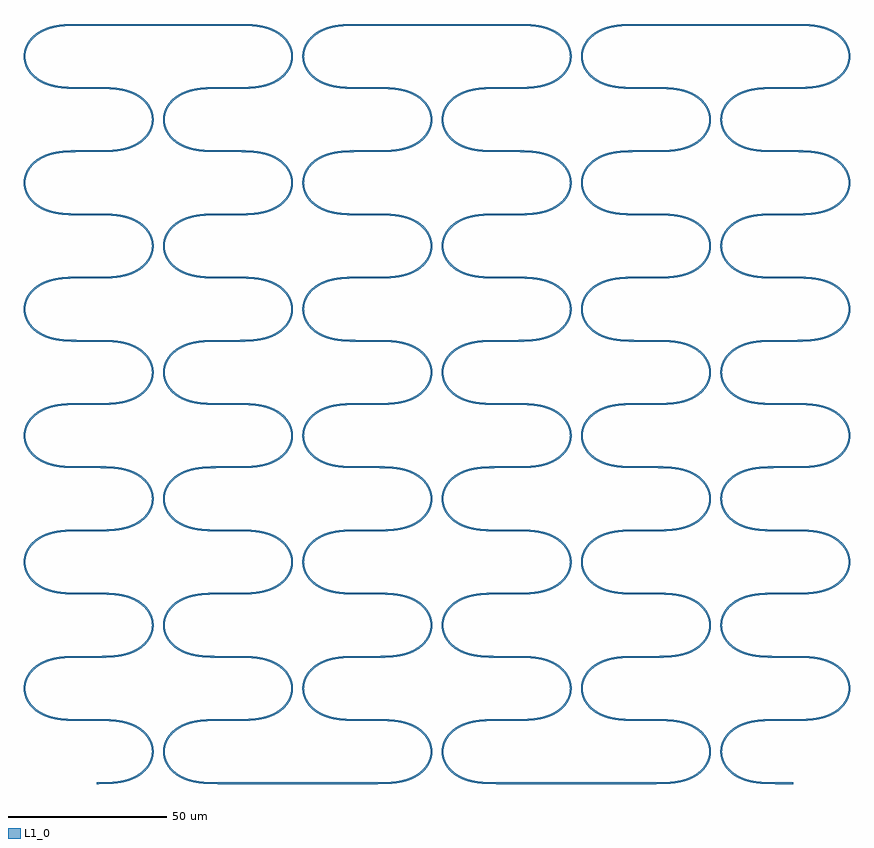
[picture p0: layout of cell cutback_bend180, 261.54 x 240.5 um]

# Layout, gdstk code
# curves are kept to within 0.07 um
from math import pi, radians
import gdstk
lib = gdstk.Library(unit=1e-6, precision=1e-09)
def R(c, l, rs):  # rectangles x0, y0, x1, y1
    for r in rs: c.add(gdstk.rectangle(r[:2], r[2:], *l))
def P(c, l, *ps):  # polygons
    for p in ps: c.add(gdstk.Polygon(p, *l))
L1_0 = (1, 0)

bend_euler180 = lib.new_cell('bend_euler180')
P(bend_euler180, L1_0, [(0,-0.25),(3.121,-0.22),(5.42,-0.091),(7.711,0.21),(9.53,0.626),(11.36,1.258),(12.927,2.029),(14.379,3.008),(15.71,4.249),(16.767,5.655),(17.564,7.3),(17.964,8.887),(18.027,10.525),(17.726,12.201),(17.06,13.835),(16.09,15.304),(14.829,16.618),(13.589,17.562),(12.184,18.367),(10.576,19.043),(8.969,19.522),(7.204,19.875),(5.293,20.102),(3.121,20.22),(0,20.25),(0,19.75),(4.748,19.642),(6.628,19.454),(8.299,19.164),(10.703,18.464),(12.732,17.506),(13.772,16.825),(14.684,16.076),(15.502,15.23),(16.209,14.291),(16.785,13.27),(17.211,12.18),(17.46,11.101),(17.545,10.061),(17.478,9.02),(17.229,7.879),(16.837,6.842),(16.309,5.865),(15.661,4.961),(14.82,4.051),(13.872,3.249),(12.785,2.525),(10.703,1.536),(8.299,0.836),(6.628,0.546),(4.748,0.358),(0,0.25)])

straight_length5_width50 = lib.new_cell('straight_length5_width500n')
R(straight_length5_width50, L1_0, [(0,-0.25,5,0.25)])

straight_length44p091_wi = lib.new_cell('straight_length44p091_width500n')
R(straight_length44p091_wi, L1_0, [(0,-0.25,44.091,0.25)])

cutback_bend180 = lib.new_cell('cutback_bend180')
cutback_bend180.add(gdstk.Reference(bend_euler180, (0,0)))
cutback_bend180.add(gdstk.Reference(straight_length5_width50, (0,20), rotation=pi))
cutback_bend180.add(gdstk.Reference(bend_euler180, (-5,40), rotation=pi))
cutback_bend180.add(gdstk.Reference(straight_length5_width50, (-5,40)))
cutback_bend180.add(gdstk.Reference(bend_euler180, (0,40)))
cutback_bend180.add(gdstk.Reference(straight_length5_width50, (0,60), rotation=pi))
cutback_bend180.add(gdstk.Reference(bend_euler180, (-5,80), rotation=pi))
cutback_bend180.add(gdstk.Reference(straight_length5_width50, (-5,80)))
cutback_bend180.add(gdstk.Reference(bend_euler180, (0,80)))
cutback_bend180.add(gdstk.Reference(straight_length5_width50, (0,100), rotation=pi))
cutback_bend180.add(gdstk.Reference(bend_euler180, (-5,120), rotation=pi))
cutback_bend180.add(gdstk.Reference(straight_length5_width50, (-5,120)))
cutback_bend180.add(gdstk.Reference(bend_euler180, (0,120)))
cutback_bend180.add(gdstk.Reference(straight_length5_width50, (0,140), rotation=pi))
cutback_bend180.add(gdstk.Reference(bend_euler180, (-5,160), rotation=pi))
cutback_bend180.add(gdstk.Reference(straight_length5_width50, (-5,160)))
cutback_bend180.add(gdstk.Reference(bend_euler180, (0,160)))
cutback_bend180.add(gdstk.Reference(straight_length5_width50, (0,180), rotation=pi))
cutback_bend180.add(gdstk.Reference(bend_euler180, (-5,200), rotation=pi))
cutback_bend180.add(gdstk.Reference(straight_length5_width50, (-5,200)))
cutback_bend180.add(gdstk.Reference(bend_euler180, (0,200)))
cutback_bend180.add(gdstk.Reference(straight_length5_width50, (0,220), rotation=pi))
cutback_bend180.add(gdstk.Reference(bend_euler180, (-5,240), rotation=pi))
cutback_bend180.add(gdstk.Reference(straight_length5_width50, (-5,240)))
cutback_bend180.add(gdstk.Reference(straight_length44p091_wi, (0,240)))
cutback_bend180.add(gdstk.Reference(bend_euler180, (44.091,220)))
cutback_bend180.add(gdstk.Reference(straight_length5_width50, (44.091,220), rotation=pi))
cutback_bend180.add(gdstk.Reference(bend_euler180, (39.091,220), rotation=pi))
cutback_bend180.add(gdstk.Reference(straight_length5_width50, (39.091,200)))
cutback_bend180.add(gdstk.Reference(bend_euler180, (44.091,180)))
cutback_bend180.add(gdstk.Reference(straight_length5_width50, (44.091,180), rotation=pi))
cutback_bend180.add(gdstk.Reference(bend_euler180, (39.091,180), rotation=pi))
cutback_bend180.add(gdstk.Reference(straight_length5_width50, (39.091,160)))
cutback_bend180.add(gdstk.Reference(bend_euler180, (44.091,140)))
cutback_bend180.add(gdstk.Reference(straight_length5_width50, (44.091,140), rotation=pi))
cutback_bend180.add(gdstk.Reference(bend_euler180, (39.091,140), rotation=pi))
cutback_bend180.add(gdstk.Reference(straight_length5_width50, (39.091,120)))
cutback_bend180.add(gdstk.Reference(bend_euler180, (44.091,100)))
cutback_bend180.add(gdstk.Reference(straight_length5_width50, (44.091,100), rotation=pi))
cutback_bend180.add(gdstk.Reference(bend_euler180, (39.091,100), rotation=pi))
cutback_bend180.add(gdstk.Reference(straight_length5_width50, (39.091,80)))
cutback_bend180.add(gdstk.Reference(bend_euler180, (44.091,60)))
cutback_bend180.add(gdstk.Reference(straight_length5_width50, (44.091,60), rotation=pi))
cutback_bend180.add(gdstk.Reference(bend_euler180, (39.091,60), rotation=pi))
cutback_bend180.add(gdstk.Reference(straight_length5_width50, (39.091,40)))
cutback_bend180.add(gdstk.Reference(bend_euler180, (44.091,20)))
cutback_bend180.add(gdstk.Reference(straight_length5_width50, (44.091,20), rotation=pi))
cutback_bend180.add(gdstk.Reference(bend_euler180, (39.091,20), rotation=pi))
cutback_bend180.add(gdstk.Reference(straight_length5_width50, (39.091,0)))
cutback_bend180.add(gdstk.Reference(straight_length44p091_wi, (44.091,0)))
cutback_bend180.add(gdstk.Reference(bend_euler180, (88.181,0)))
cutback_bend180.add(gdstk.Reference(straight_length5_width50, (88.181,20), rotation=pi))
cutback_bend180.add(gdstk.Reference(bend_euler180, (83.181,40), rotation=pi))
cutback_bend180.add(gdstk.Reference(straight_length5_width50, (83.181,40)))
cutback_bend180.add(gdstk.Reference(bend_euler180, (88.181,40)))
cutback_bend180.add(gdstk.Reference(straight_length5_width50, (88.181,60), rotation=pi))
cutback_bend180.add(gdstk.Reference(bend_euler180, (83.181,80), rotation=pi))
cutback_bend180.add(gdstk.Reference(straight_length5_width50, (83.181,80)))
cutback_bend180.add(gdstk.Reference(bend_euler180, (88.181,80)))
cutback_bend180.add(gdstk.Reference(straight_length5_width50, (88.181,100), rotation=pi))
cutback_bend180.add(gdstk.Reference(bend_euler180, (83.181,120), rotation=pi))
cutback_bend180.add(gdstk.Reference(straight_length5_width50, (83.181,120)))
cutback_bend180.add(gdstk.Reference(bend_euler180, (88.181,120)))
cutback_bend180.add(gdstk.Reference(straight_length5_width50, (88.181,140), rotation=pi))
cutback_bend180.add(gdstk.Reference(bend_euler180, (83.181,160), rotation=pi))
cutback_bend180.add(gdstk.Reference(straight_length5_width50, (83.181,160)))
cutback_bend180.add(gdstk.Reference(bend_euler180, (88.181,160)))
cutback_bend180.add(gdstk.Reference(straight_length5_width50, (88.181,180), rotation=pi))
cutback_bend180.add(gdstk.Reference(bend_euler180, (83.181,200), rotation=pi))
cutback_bend180.add(gdstk.Reference(straight_length5_width50, (83.181,200)))
cutback_bend180.add(gdstk.Reference(bend_euler180, (88.181,200)))
cutback_bend180.add(gdstk.Reference(straight_length5_width50, (88.181,220), rotation=pi))
cutback_bend180.add(gdstk.Reference(bend_euler180, (83.181,240), rotation=pi))
cutback_bend180.add(gdstk.Reference(straight_length5_width50, (83.181,240)))
cutback_bend180.add(gdstk.Reference(straight_length44p091_wi, (88.181,240)))
cutback_bend180.add(gdstk.Reference(bend_euler180, (132.272,220)))
cutback_bend180.add(gdstk.Reference(straight_length5_width50, (132.272,220), rotation=pi))
cutback_bend180.add(gdstk.Reference(bend_euler180, (127.272,220), rotation=pi))
cutback_bend180.add(gdstk.Reference(straight_length5_width50, (127.272,200)))
cutback_bend180.add(gdstk.Reference(bend_euler180, (132.272,180)))
cutback_bend180.add(gdstk.Reference(straight_length5_width50, (132.272,180), rotation=pi))
cutback_bend180.add(gdstk.Reference(bend_euler180, (127.272,180), rotation=pi))
cutback_bend180.add(gdstk.Reference(straight_length5_width50, (127.272,160)))
cutback_bend180.add(gdstk.Reference(bend_euler180, (132.272,140)))
cutback_bend180.add(gdstk.Reference(straight_length5_width50, (132.272,140), rotation=pi))
cutback_bend180.add(gdstk.Reference(bend_euler180, (127.272,140), rotation=pi))
cutback_bend180.add(gdstk.Reference(straight_length5_width50, (127.272,120)))
cutback_bend180.add(gdstk.Reference(bend_euler180, (132.272,100)))
cutback_bend180.add(gdstk.Reference(straight_length5_width50, (132.272,100), rotation=pi))
cutback_bend180.add(gdstk.Reference(bend_euler180, (127.272,100), rotation=pi))
cutback_bend180.add(gdstk.Reference(straight_length5_width50, (127.272,80)))
cutback_bend180.add(gdstk.Reference(bend_euler180, (132.272,60)))
cutback_bend180.add(gdstk.Reference(straight_length5_width50, (132.272,60), rotation=pi))
cutback_bend180.add(gdstk.Reference(bend_euler180, (127.272,60), rotation=pi))
cutback_bend180.add(gdstk.Reference(straight_length5_width50, (127.272,40)))
cutback_bend180.add(gdstk.Reference(bend_euler180, (132.272,20)))
cutback_bend180.add(gdstk.Reference(straight_length5_width50, (132.272,20), rotation=pi))
cutback_bend180.add(gdstk.Reference(bend_euler180, (127.272,20), rotation=pi))
cutback_bend180.add(gdstk.Reference(straight_length5_width50, (127.272,0)))
cutback_bend180.add(gdstk.Reference(straight_length44p091_wi, (132.272,0)))
cutback_bend180.add(gdstk.Reference(bend_euler180, (176.362,0)))
cutback_bend180.add(gdstk.Reference(straight_length5_width50, (176.362,20), rotation=pi))
cutback_bend180.add(gdstk.Reference(bend_euler180, (171.362,40), rotation=pi))
cutback_bend180.add(gdstk.Reference(straight_length5_width50, (171.362,40)))
cutback_bend180.add(gdstk.Reference(bend_euler180, (176.362,40)))
cutback_bend180.add(gdstk.Reference(straight_length5_width50, (176.362,60), rotation=pi))
cutback_bend180.add(gdstk.Reference(bend_euler180, (171.362,80), rotation=pi))
cutback_bend180.add(gdstk.Reference(straight_length5_width50, (171.362,80)))
cutback_bend180.add(gdstk.Reference(bend_euler180, (176.362,80)))
cutback_bend180.add(gdstk.Reference(straight_length5_width50, (176.362,100), rotation=pi))
cutback_bend180.add(gdstk.Reference(bend_euler180, (171.362,120), rotation=pi))
cutback_bend180.add(gdstk.Reference(straight_length5_width50, (171.362,120)))
cutback_bend180.add(gdstk.Reference(bend_euler180, (176.362,120)))
cutback_bend180.add(gdstk.Reference(straight_length5_width50, (176.362,140), rotation=pi))
cutback_bend180.add(gdstk.Reference(bend_euler180, (171.362,160), rotation=pi))
cutback_bend180.add(gdstk.Reference(straight_length5_width50, (171.362,160)))
cutback_bend180.add(gdstk.Reference(bend_euler180, (176.362,160)))
cutback_bend180.add(gdstk.Reference(straight_length5_width50, (176.362,180), rotation=pi))
cutback_bend180.add(gdstk.Reference(bend_euler180, (171.362,200), rotation=pi))
cutback_bend180.add(gdstk.Reference(straight_length5_width50, (171.362,200)))
cutback_bend180.add(gdstk.Reference(bend_euler180, (176.362,200)))
cutback_bend180.add(gdstk.Reference(straight_length5_width50, (176.362,220), rotation=pi))
cutback_bend180.add(gdstk.Reference(bend_euler180, (171.362,240), rotation=pi))
cutback_bend180.add(gdstk.Reference(straight_length5_width50, (171.362,240)))
cutback_bend180.add(gdstk.Reference(straight_length44p091_wi, (176.362,240)))
cutback_bend180.add(gdstk.Reference(bend_euler180, (220.453,220)))
cutback_bend180.add(gdstk.Reference(straight_length5_width50, (220.453,220), rotation=pi))
cutback_bend180.add(gdstk.Reference(bend_euler180, (215.453,220), rotation=pi))
cutback_bend180.add(gdstk.Reference(straight_length5_width50, (215.453,200)))
cutback_bend180.add(gdstk.Reference(bend_euler180, (220.453,180)))
cutback_bend180.add(gdstk.Reference(straight_length5_width50, (220.453,180), rotation=pi))
cutback_bend180.add(gdstk.Reference(bend_euler180, (215.453,180), rotation=pi))
cutback_bend180.add(gdstk.Reference(straight_length5_width50, (215.453,160)))
cutback_bend180.add(gdstk.Reference(bend_euler180, (220.453,140)))
cutback_bend180.add(gdstk.Reference(straight_length5_width50, (220.453,140), rotation=pi))
cutback_bend180.add(gdstk.Reference(bend_euler180, (215.453,140), rotation=pi))
cutback_bend180.add(gdstk.Reference(straight_length5_width50, (215.453,120)))
cutback_bend180.add(gdstk.Reference(bend_euler180, (220.453,100)))
cutback_bend180.add(gdstk.Reference(straight_length5_width50, (220.453,100), rotation=pi))
cutback_bend180.add(gdstk.Reference(bend_euler180, (215.453,100), rotation=pi))
cutback_bend180.add(gdstk.Reference(straight_length5_width50, (215.453,80)))
cutback_bend180.add(gdstk.Reference(bend_euler180, (220.453,60)))
cutback_bend180.add(gdstk.Reference(straight_length5_width50, (220.453,60), rotation=pi))
cutback_bend180.add(gdstk.Reference(bend_euler180, (215.453,60), rotation=pi))
cutback_bend180.add(gdstk.Reference(straight_length5_width50, (215.453,40)))
cutback_bend180.add(gdstk.Reference(bend_euler180, (220.453,20)))
cutback_bend180.add(gdstk.Reference(straight_length5_width50, (220.453,20), rotation=pi))
cutback_bend180.add(gdstk.Reference(bend_euler180, (215.453,20), rotation=pi))
cutback_bend180.add(gdstk.Reference(straight_length5_width50, (215.453,0)))

lib.write_gds('cutback_bend180.gds')
